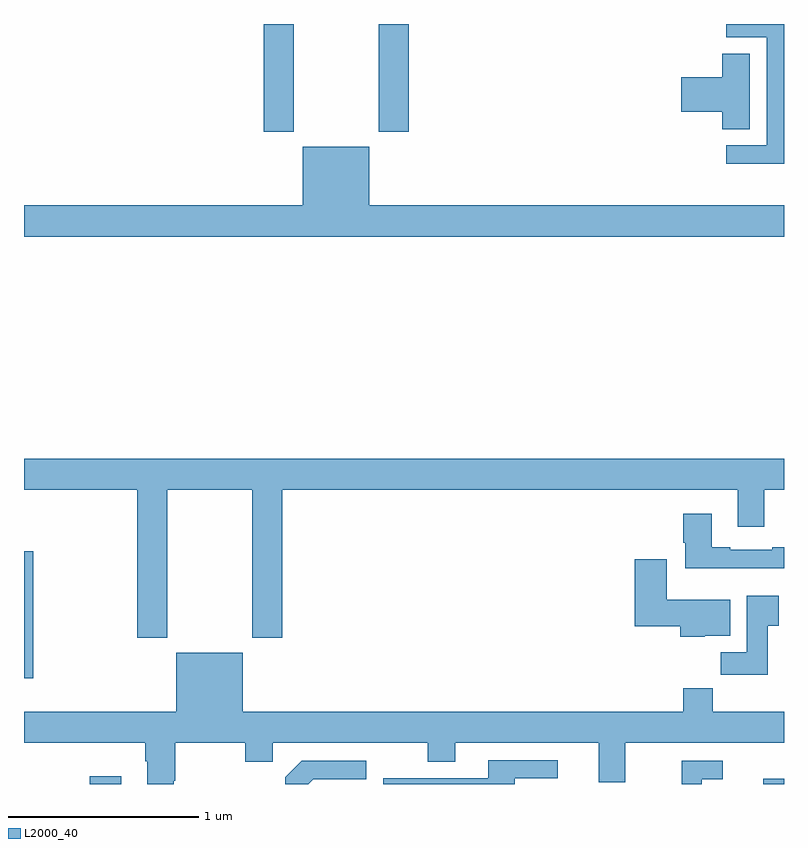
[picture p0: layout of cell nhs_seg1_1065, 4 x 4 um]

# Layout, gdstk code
import gdstk
lib = gdstk.Library(unit=1e-6, precision=1e-09)
def R(c, l, rs):  # rectangles x0, y0, x1, y1
    for r in rs: c.add(gdstk.rectangle(r[:2], r[2:], *l))
def P(c, l, *ps):  # polygons
    for p in ps: c.add(gdstk.Polygon(p, *l))
L2000_40 = (2000, 40)

nhs_seg1_1065 = lib.new_cell('nhs_seg1_1065')
R(nhs_seg1_1065, L2000_40, [(169.346,534.199,169.513,534.241), (172.892,534.199,173,534.226), (169,534.756,169.049,535.423), (170.261,537.633,170.421,538.199), (170.866,537.633,171.026,538.199)])
P(nhs_seg1_1065, L2000_40, [(173,538.199),(172.695,538.199),(172.695,538.128),(172.908,538.128),(172.908,537.561),(172.695,537.561),(172.695,537.463),(173,537.463)],
  [(172.819,538.043),(172.676,538.043),(172.676,537.92),(172.458,537.92),(172.458,537.737),(172.676,537.737),(172.676,537.646),(172.819,537.646)],
  [(173,537.244),(170.818,537.244),(170.818,537.553),(170.468,537.553),(170.468,537.244),(169,537.244),(169,537.08),(173,537.08)],
  [(169.755,535.748),(170.2,535.748),(170.2,534.969),(170.36,534.969),(170.36,535.748),(172.757,535.748),(172.757,535.554),(172.897,535.554),(172.897,535.748),(173,535.748),(173,535.912),(169,535.912),(169,535.748),(169.595,535.748),(169.595,534.969),(169.755,534.969)],
  [(173,535.444),(172.937,535.444),(172.937,535.431),(172.717,535.431),(172.717,535.444),(172.621,535.444),(172.621,535.621),(172.469,535.621),(172.469,535.468),(172.481,535.468),(172.481,535.334),(173,535.334)],
  [(172.584,534.98),(172.717,534.98),(172.717,535.168),(172.384,535.168),(172.384,535.381),(172.214,535.381),(172.214,535.028),(172.454,535.028),(172.454,534.974),(172.584,534.974)],
  [(172.915,535.033),(172.972,535.033),(172.972,535.189),(172.805,535.189),(172.805,534.892),(172.666,534.892),(172.666,534.774),(172.915,534.774)],
  [(169.789,534.217),(169.797,534.217),(169.797,534.416),(170.164,534.416),(170.164,534.317),(170.31,534.317),(170.31,534.416),(171.124,534.416),(171.124,534.317),(171.271,534.317),(171.271,534.416),(172.025,534.416),(172.025,534.208),(172.165,534.208),(172.165,534.416),(173,534.416),(173,534.58),(172.625,534.58),(172.625,534.704),(172.469,534.704),(172.469,534.58),(170.152,534.58),(170.152,534.889),(169.802,534.889),(169.802,534.58),(169,534.58),(169,534.416),(169.637,534.416),(169.637,534.32),(169.649,534.32),(169.649,534.199),(169.789,534.199)],
  [(171.583,534.228),(171.808,534.228),(171.808,534.324),(171.443,534.324),(171.443,534.228),(170.892,534.228),(170.892,534.199),(171.583,534.199)],
  [(172.567,534.225),(172.678,534.225),(172.678,534.321),(172.463,534.321),(172.463,534.199),(172.567,534.199)],
  [(170.523,534.225),(170.8,534.225),(170.8,534.321),(170.463,534.321),(170.376,534.234),(170.376,534.199),(170.497,534.199)])

lib.write_gds('nhs_seg1_1065.gds')
